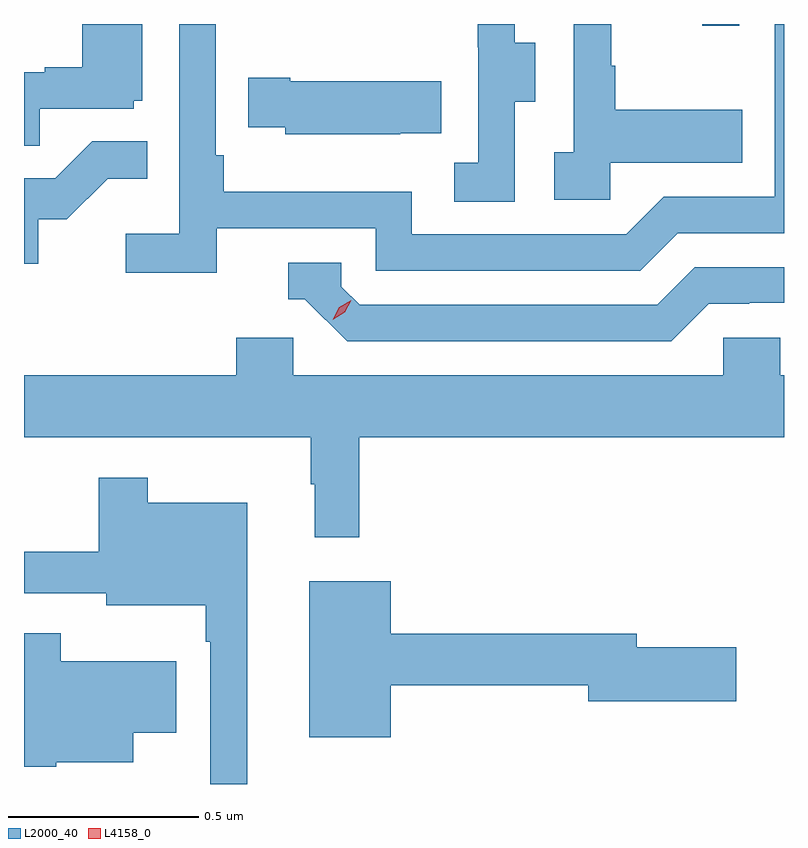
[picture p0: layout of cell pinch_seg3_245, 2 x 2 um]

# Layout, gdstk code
import gdstk
lib = gdstk.Library(unit=1e-6, precision=1e-09)
def R(c, l, rs):  # rectangles x0, y0, x1, y1
    for r in rs: c.add(gdstk.rectangle(r[:2], r[2:], *l))
def P(c, l, *ps):  # polygons
    for p in ps: c.add(gdstk.Polygon(p, *l))
L2000_40 = (2000, 40)
L4158_0 = (4158, 0)

pinch_seg3_245 = lib.new_cell('pinch_seg3_245')
R(pinch_seg3_245, L2000_40, [(911.12,744.624,911.217,744.628)])
P(pinch_seg3_245, L2000_40, [(910.626,744.424),(910.681,744.424),(910.681,744.579),(910.627,744.579),(910.627,744.628),(910.529,744.628),(910.529,744.567),(910.53,744.567),(910.53,744.263),(910.467,744.263),(910.467,744.16),(910.626,744.16)],
  [(910.878,744.263),(911.225,744.263),(911.225,744.403),(910.891,744.403),(910.891,744.518),(910.881,744.518),(910.881,744.628),(910.782,744.628),(910.782,744.29),(910.731,744.29),(910.731,744.165),(910.878,744.165)],
  [(909.377,744.405),(909.624,744.405),(909.624,744.426),(909.646,744.426),(909.646,744.628),(909.488,744.628),(909.488,744.514),(909.389,744.514),(909.389,744.501),(909.335,744.501),(909.335,744.307),(909.377,744.307)],
  [(909.842,744.09),(910.26,744.09),(910.26,743.979),(910.957,743.979),(911.056,744.078),(911.335,744.078),(911.335,744.628),(911.31,744.628),(911.31,744.174),(911.019,744.174),(910.92,744.075),(910.356,744.075),(910.356,744.187),(909.86,744.187),(909.86,744.283),(909.84,744.283),(909.84,744.628),(909.744,744.628),(909.744,744.076),(909.603,744.076),(909.603,743.974),(909.842,743.974)],
  [(910.325,744.341),(910.433,744.341),(910.433,744.478),(910.036,744.478),(910.036,744.486),(909.925,744.486),(909.925,744.356),(910.023,744.356),(910.023,744.338),(910.325,744.338)],
  [(909.372,744.114),(909.448,744.114),(909.555,744.221),(909.659,744.221),(909.659,744.32),(909.515,744.32),(909.417,744.222),(909.335,744.222),(909.335,743.997),(909.372,743.997)],
  [(911.137,743.892),(911.244,743.892),(911.244,743.895),(911.335,743.895),(911.335,743.988),(911.1,743.988),(911.001,743.889),(910.218,743.889),(910.17,743.937),(910.17,744),(910.031,744),(910.031,743.904),(910.074,743.904),(910.185,743.793),(911.038,743.793)],
  [(910.217,743.54),(911.335,743.54),(911.335,743.704),(911.325,743.704),(911.325,743.802),(911.175,743.802),(911.175,743.704),(910.044,743.704),(910.044,743.802),(909.893,743.802),(909.893,743.704),(909.335,743.704),(909.335,743.54),(910.089,743.54),(910.089,743.417),(910.1,743.417),(910.1,743.277),(910.217,743.277)],
  [(909.922,743.368),(909.661,743.368),(909.661,743.434),(909.532,743.434),(909.532,743.239),(909.335,743.239),(909.335,743.13),(909.551,743.13),(909.551,743.099),(909.813,743.099),(909.813,743.003),(909.825,743.003),(909.825,742.628),(909.922,742.628)],
  [(910.3,742.888),(910.82,742.888),(910.82,742.846),(911.209,742.846),(911.209,742.988),(910.948,742.988),(910.948,743.024),(910.3,743.024),(910.3,743.161),(910.085,743.161),(910.085,742.751),(910.3,742.751)],
  [(909.42,742.685),(909.622,742.685),(909.622,742.763),(909.736,742.763),(909.736,742.951),(909.432,742.951),(909.432,743.025),(909.335,743.025),(909.335,742.673),(909.42,742.673)])
P(pinch_seg3_245, L4158_0, [(910.148,743.85),(910.148,743.85),(910.165,743.882),(910.196,743.901),(910.196,743.901),(910.196,743.901),(910.179,743.869),(910.148,743.85)])

lib.write_gds('pinch_seg3_245.gds')
